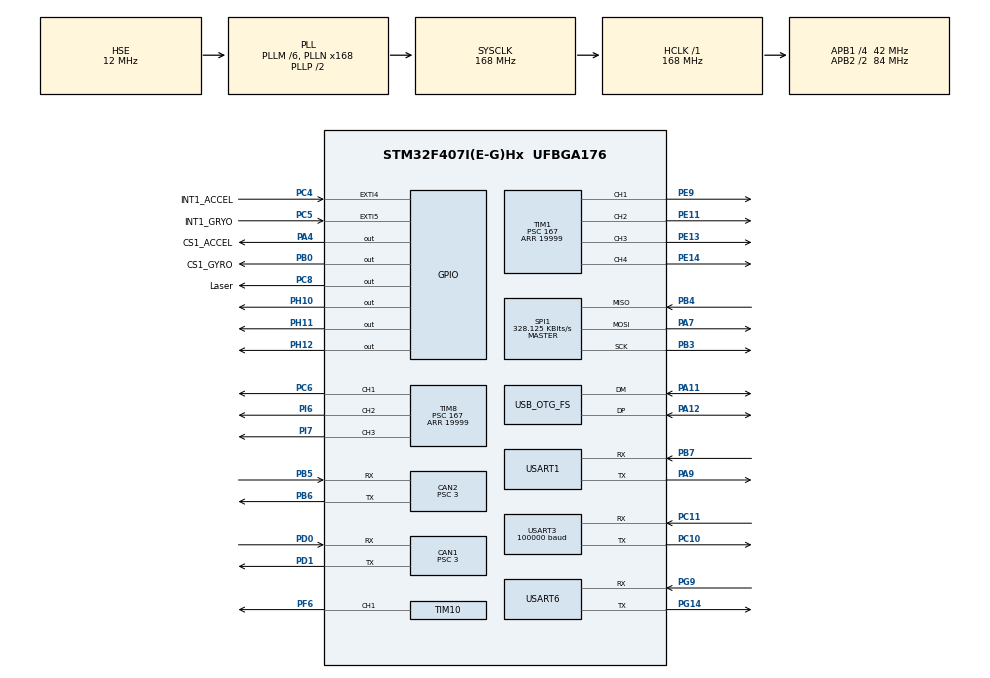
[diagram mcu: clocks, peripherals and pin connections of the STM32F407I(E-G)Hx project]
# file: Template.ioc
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CAN1.BS1=CAN_BS1_10TQ
CAN1.BS2=CAN_BS2_3TQ
CAN1.CalculateBaudRate=1000000
CAN1.CalculateTimeBit=1000
CAN1.CalculateTimeQuantum=71.42857142857143
CAN1.Prescaler=3
CAN2.BS1=CAN_BS1_10TQ
CAN2.BS2=CAN_BS2_3TQ
CAN2.CalculateBaudRate=1000000
CAN2.CalculateTimeBit=1000
CAN2.CalculateTimeQuantum=71.42857142857143
CAN2.Prescaler=3
Dma.Request0=SPI1_RX
Dma.Request1=SPI1_TX
Dma.Request2=USART6_RX
Dma.Request3=USART6_TX
Dma.Request4=USART3_RX
Dma.Request5=USART1_TX
Dma.Request6=USART1_RX
Dma.SPI1_RX.0.Direction=DMA_PERIPH_TO_MEMORY
Dma.SPI1_RX.0.FIFOMode=DMA_FIFOMODE_DISABLE
Dma.SPI1_RX.0.Instance=DMA2_Stream0
Dma.SPI1_RX.0.MemDataAlignment=DMA_MDATAALIGN_BYTE
Dma.SPI1_RX.0.MemInc=DMA_MINC_ENABLE
Dma.SPI1_RX.0.Mode=DMA_NORMAL
Dma.SPI1_RX.0.PeriphDataAlignment=DMA_PDATAALIGN_BYTE
Dma.SPI1_RX.0.PeriphInc=DMA_PINC_DISABLE
Dma.SPI1_RX.0.Priority=DMA_PRIORITY_VERY_HIGH
Dma.SPI1_TX.1.Direction=DMA_MEMORY_TO_PERIPH
Dma.SPI1_TX.1.FIFOMode=DMA_FIFOMODE_DISABLE
Dma.SPI1_TX.1.Instance=DMA2_Stream3
Dma.SPI1_TX.1.MemDataAlignment=DMA_MDATAALIGN_BYTE
Dma.SPI1_TX.1.MemInc=DMA_MINC_ENABLE
Dma.SPI1_TX.1.Mode=DMA_NORMAL
Dma.SPI1_TX.1.PeriphDataAlignment=DMA_PDATAALIGN_BYTE
Dma.SPI1_TX.1.PeriphInc=DMA_PINC_DISABLE
Dma.SPI1_TX.1.Priority=DMA_PRIORITY_HIGH
Dma.USART1_RX.6.Direction=DMA_PERIPH_TO_MEMORY
Dma.USART1_RX.6.FIFOMode=DMA_FIFOMODE_DISABLE
Dma.USART1_RX.6.Instance=DMA2_Stream2
Dma.USART1_RX.6.MemDataAlignment=DMA_MDATAALIGN_BYTE
Dma.USART1_RX.6.MemInc=DMA_MINC_ENABLE
Dma.USART1_RX.6.Mode=DMA_NORMAL
Dma.USART1_RX.6.PeriphDataAlignment=DMA_PDATAALIGN_BYTE
Dma.USART1_RX.6.PeriphInc=DMA_PINC_DISABLE
Dma.USART1_RX.6.Priority=DMA_PRIORITY_HIGH
Dma.USART1_TX.5.Direction=DMA_MEMORY_TO_PERIPH
Dma.USART1_TX.5.FIFOMode=DMA_FIFOMODE_DISABLE
Dma.USART1_TX.5.Instance=DMA2_Stream7
Dma.USART1_TX.5.MemDataAlignment=DMA_MDATAALIGN_BYTE
Dma.USART1_TX.5.MemInc=DMA_MINC_ENABLE
Dma.USART1_TX.5.Mode=DMA_NORMAL
Dma.USART1_TX.5.PeriphDataAlignment=DMA_PDATAALIGN_BYTE
Dma.USART1_TX.5.PeriphInc=DMA_PINC_DISABLE
Dma.USART1_TX.5.Priority=DMA_PRIORITY_HIGH
Dma.USART3_RX.4.Direction=DMA_PERIPH_TO_MEMORY
Dma.USART3_RX.4.FIFOMode=DMA_FIFOMODE_DISABLE
Dma.USART3_RX.4.Instance=DMA1_Stream1
Dma.USART3_RX.4.MemDataAlignment=DMA_MDATAALIGN_BYTE
Dma.USART3_RX.4.MemInc=DMA_MINC_ENABLE
Dma.USART3_RX.4.Mode=DMA_NORMAL
Dma.USART3_RX.4.PeriphDataAlignment=DMA_PDATAALIGN_BYTE
Dma.USART3_RX.4.PeriphInc=DMA_PINC_DISABLE
Dma.USART3_RX.4.Priority=DMA_PRIORITY_HIGH
Dma.USART6_RX.2.Direction=DMA_PERIPH_TO_MEMORY
Dma.USART6_RX.2.FIFOMode=DMA_FIFOMODE_DISABLE
Dma.USART6_RX.2.Instance=DMA2_Stream1
Dma.USART6_RX.2.MemDataAlignment=DMA_MDATAALIGN_BYTE
Dma.USART6_RX.2.MemInc=DMA_MINC_ENABLE
Dma.USART6_RX.2.Mode=DMA_NORMAL
Dma.USART6_RX.2.PeriphDataAlignment=DMA_PDATAALIGN_BYTE
Dma.USART6_RX.2.PeriphInc=DMA_PINC_DISABLE
Dma.USART6_RX.2.Priority=DMA_PRIORITY_HIGH
Dma.USART6_TX.3.Direction=DMA_MEMORY_TO_PERIPH
Dma.USART6_TX.3.FIFOMode=DMA_FIFOMODE_DISABLE
Dma.USART6_TX.3.Instance=DMA2_Stream6
Dma.USART6_TX.3.MemDataAlignment=DMA_MDATAALIGN_BYTE
Dma.USART6_TX.3.MemInc=DMA_MINC_ENABLE
Dma.USART6_TX.3.Mode=DMA_NORMAL
Dma.USART6_TX.3.PeriphDataAlignment=DMA_PDATAALIGN_BYTE
Dma.USART6_TX.3.PeriphInc=DMA_PINC_DISABLE
Dma.USART6_TX.3.Priority=DMA_PRIORITY_HIGH
FREERTOS.Tasks01=defaultTask,0,128,StartDefaultTask,Default,NULL,Dynamic,NULL,NULL
Mcu.Family=STM32F4
Mcu.Name=STM32F407I(E-G)Hx
Mcu.Package=UFBGA176
NVIC.CAN1_RX0_IRQn=true\:5\:0\:false\:false\:true\:true\:true\:true
NVIC.CAN2_RX0_IRQn=true\:5\:0\:false\:false\:true\:true\:true\:true
NVIC.DMA1_Stream1_IRQn=true\:5\:0\:false\:false\:true\:true\:false\:true
NVIC.DMA2_Stream0_IRQn=true\:5\:0\:false\:false\:false\:true\:false\:true
NVIC.DMA2_Stream1_IRQn=true\:5\:0\:false\:false\:true\:true\:false\:true
NVIC.DMA2_Stream2_IRQn=true\:5\:0\:false\:false\:true\:true\:false\:true
NVIC.DMA2_Stream3_IRQn=true\:5\:0\:false\:false\:true\:true\:false\:true
NVIC.DMA2_Stream6_IRQn=true\:5\:0\:false\:false\:true\:true\:false\:true
NVIC.DMA2_Stream7_IRQn=true\:5\:0\:false\:false\:true\:true\:false\:true
NVIC.EXTI4_IRQn=true\:5\:0\:false\:false\:true\:true\:true\:true
NVIC.EXTI9_5_IRQn=true\:5\:0\:false\:false\:true\:true\:true\:true
NVIC.OTG_FS_IRQn=true\:5\:0\:false\:false\:true\:true\:false\:true
NVIC.PriorityGroup=NVIC_PRIORITYGROUP_4
NVIC.TIM3_IRQn=true\:5\:0\:false\:false\:false\:true\:true\:true
NVIC.TIM4_IRQn=true\:5\:0\:false\:false\:false\:true\:true\:true
NVIC.TIM5_IRQn=true\:5\:0\:false\:false\:false\:true\:true\:true
NVIC.TIM6_DAC_IRQn=true\:5\:0\:false\:false\:false\:true\:true\:true
NVIC.TIM7_IRQn=true\:15\:0\:false\:false\:true\:false\:false\:true
NVIC.TimeBase=TIM7_IRQn
NVIC.TimeBaseIP=TIM7
NVIC.USART1_IRQn=true\:5\:0\:false\:false\:false\:true\:true\:true
NVIC.USART3_IRQn=true\:5\:0\:false\:false\:false\:true\:true\:true
NVIC.USART6_IRQn=true\:5\:0\:false\:false\:false\:true\:true\:true
PA11.Mode=Device_Only
PA11.Signal=USB_OTG_FS_DM
PA12.Mode=Device_Only
PA12.Signal=USB_OTG_FS_DP
PA13.Mode=Serial_Wire
PA13.Signal=SYS_JTMS-SWDIO
PA14.Mode=Serial_Wire
PA14.Signal=SYS_JTCK-SWCLK
PA4.GPIO_Label=CS1_ACCEL
PA4.Signal=GPIO_Output
PA7.Mode=Full_Duplex_Master
PA7.Signal=SPI1_MOSI
PA9.Mode=Asynchronous
PA9.Signal=USART1_TX
PB0.GPIO_Label=CS1_GYRO
PB0.Signal=GPIO_Output
PB3.Mode=Full_Duplex_Master
PB3.Signal=SPI1_SCK
PB4.Mode=Full_Duplex_Master
PB4.Signal=SPI1_MISO
PB5.Mode=CAN_Activate
PB5.Signal=CAN2_RX
PB6.Mode=CAN_Activate
PB6.Signal=CAN2_TX
PB7.Mode=Asynchronous
PB7.Signal=USART1_RX
PC10.Mode=Asynchronous
PC10.Signal=USART3_TX
PC11.Mode=Asynchronous
PC11.Signal=USART3_RX
PC4.GPIO_Label=INT1_ACCEL
PC4.Signal=GPXTI4
PC5.GPIO_Label=INT1_GRYO
PC5.Signal=GPXTI5
PC6.Signal=S_TIM8_CH1
PC8.GPIO_Label=Laser
PC8.Signal=GPIO_Output
PD0.Mode=CAN_Activate
PD0.Signal=CAN1_RX
PD1.Mode=CAN_Activate
PD1.Signal=CAN1_TX
PE11.Signal=S_TIM1_CH2
PE13.Signal=S_TIM1_CH3
PE14.Signal=S_TIM1_CH4
PE9.Signal=S_TIM1_CH1
PF6.Signal=S_TIM10_CH1
PG14.Mode=Asynchronous
PG14.Signal=USART6_TX
PG9.Mode=Asynchronous
PG9.Signal=USART6_RX
PH0-OSC_IN.Mode=HSE-External-Oscillator
PH0-OSC_IN.Signal=RCC_OSC_IN
PH1-OSC_OUT.Mode=HSE-External-Oscillator
PH1-OSC_OUT.Signal=RCC_OSC_OUT
PH10.Signal=GPIO_Output
PH11.Signal=GPIO_Output
PH12.Signal=GPIO_Output
PI6.Signal=S_TIM8_CH2
PI7.Signal=S_TIM8_CH3
ProjectManager.HeapSize=0x5000
ProjectManager.StackSize=0x5000
ProjectManager.TargetToolchain=MDK-ARM V5.32
RCC.48MHZClocksFreq_Value=48000000
RCC.AHBFreq_Value=168000000
RCC.APB1CLKDivider=RCC_HCLK_DIV4
RCC.APB1Freq_Value=42000000
RCC.APB1TimFreq_Value=84000000
RCC.APB2CLKDivider=RCC_HCLK_DIV2
RCC.APB2Freq_Value=84000000
RCC.APB2TimFreq_Value=168000000
RCC.CortexFreq_Value=168000000
RCC.HCLKFreq_Value=168000000
RCC.HSE_VALUE=12000000
RCC.HSI_VALUE=16000000
RCC.LSE_VALUE=32768
RCC.PLLM=6
RCC.PLLN=168
RCC.PLLQ=7
RCC.SYSCLKFreq_VALUE=168000000
RCC.SYSCLKSource=RCC_SYSCLKSOURCE_PLLCLK
RCC.VCOOutputFreq_Value=336000000
SH.S_TIM10_CH1.0=TIM10_CH1,PWM Generation1 CH1
SH.S_TIM1_CH1.0=TIM1_CH1,PWM Generation1 CH1
SH.S_TIM1_CH2.0=TIM1_CH2,PWM Generation2 CH2
SH.S_TIM1_CH3.0=TIM1_CH3,PWM Generation3 CH3
SH.S_TIM1_CH4.0=TIM1_CH4,PWM Generation4 CH4
SH.S_TIM8_CH1.0=TIM8_CH1,PWM Generation1 CH1
SH.S_TIM8_CH2.0=TIM8_CH2,PWM Generation2 CH2
SH.S_TIM8_CH3.0=TIM8_CH3,PWM Generation3 CH3
SPI1.BaudRatePrescaler=SPI_BAUDRATEPRESCALER_256
SPI1.CLKPhase=SPI_PHASE_2EDGE
SPI1.CLKPolarity=SPI_POLARITY_HIGH
SPI1.CalculateBaudRate=328.125 KBits/s
SPI1.Direction=SPI_DIRECTION_2LINES
SPI1.Mode=SPI_MODE_MASTER
SPI1.VirtualType=VM_MASTER
TIM1.Channel-PWM\ Generation1\ CH1=TIM_CHANNEL_1
TIM1.Channel-PWM\ Generation2\ CH2=TIM_CHANNEL_2
TIM1.Channel-PWM\ Generation3\ CH3=TIM_CHANNEL_3
TIM1.Channel-PWM\ Generation4\ CH4=TIM_CHANNEL_4
TIM1.Period=19999
TIM1.Prescaler=167
TIM1.Pulse-PWM\ Generation1\ CH1=1000
TIM1.Pulse-PWM\ Generation2\ CH2=1000
TIM1.Pulse-PWM\ Generation3\ CH3=1000
TIM1.Pulse-PWM\ Generation4\ CH4=1000
TIM10.Channel=TIM_CHANNEL_1
TIM10.Period=4999
TIM3.Period=999
TIM3.Prescaler=83
TIM4.Period=1999
TIM4.Prescaler=83
TIM5.Period=999
TIM5.Prescaler=83
TIM6.Period=9999
TIM6.Prescaler=83
TIM8.Channel-PWM\ Generation1\ CH1=TIM_CHANNEL_1
TIM8.Channel-PWM\ Generation2\ CH2=TIM_CHANNEL_2
TIM8.Channel-PWM\ Generation3\ CH3=TIM_CHANNEL_3
TIM8.Period=19999
TIM8.Prescaler=167
TIM8.Pulse-PWM\ Generation1\ CH1=1000
TIM8.Pulse-PWM\ Generation2\ CH2=1000
TIM8.Pulse-PWM\ Generation3\ CH3=1000
USART1.VirtualMode=VM_ASYNC
USART3.BaudRate=100000
USART3.Parity=PARITY_EVEN
USART3.VirtualMode=VM_ASYNC
USART6.VirtualMode=VM_ASYNC
USB_DEVICE.CLASS_NAME_FS=CDC
USB_DEVICE.VirtualMode-CDC_FS=Cdc
USB_DEVICE.VirtualModeFS=Cdc_FS
USB_OTG_FS.VirtualMode=Device_Only
VP_FREERTOS_VS_CMSIS_V1.Mode=CMSIS_V1
VP_SYS_VS_tim7.Mode=TIM7
VP_TIM10_VS_ClockSourceINT.Mode=Enable_Timer
VP_TIM1_VS_ClockSourceINT.Mode=Internal
VP_TIM3_VS_ClockSourceINT.Mode=Internal
VP_TIM4_VS_ClockSourceINT.Mode=Internal
VP_TIM5_VS_ClockSourceINT.Mode=Internal
VP_TIM6_VS_ClockSourceINT.Mode=Enable_Timer
VP_TIM8_VS_ClockSourceINT.Mode=Internal
VP_USB_DEVICE_VS_USB_DEVICE_CDC_FS.Mode=CDC_FS
board=custom

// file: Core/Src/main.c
/* USER CODE BEGIN Header */
/**
  ******************************************************************************
  * @file           : main.c
  * @brief          : Main program body
  ******************************************************************************
  * @attention
  *
  * Copyright (c) 2021 STMicroelectronics.
  * All rights reserved.
  *
  * This software is licensed under terms that can be found in the LICENSE file
  * in the root directory of this software component.
  * If no LICENSE file comes with this software, it is provided AS-IS.
  *
  ******************************************************************************
  */
/* USER CODE END Header */
#include "main.h"
#include "cmsis_os.h"
#include "can.h"
#include "dma.h"
#include "spi.h"
#include "tim.h"
#include "usart.h"
#include "usb_device.h"
#include "gpio.h"

/* USER CODE BEGIN Includes */
#include "bsp_delay.h"
#include "bsp_can.h"
#include "Remote.h"
/* USER CODE END Includes */

void SystemClock_Config(void);
void MX_FREERTOS_Init(void);

int main(void)
{

  /* MCU Configuration--------------------------------------------------------*/

  /* Reset of all peripherals, Initializes the Flash interface and the Systick. */
  HAL_Init();

  /* Configure the system clock */
  SystemClock_Config();

  /* Initialize all configured peripherals */
  MX_GPIO_Init();
  MX_DMA_Init();
  MX_CAN1_Init();
  MX_SPI1_Init();
  MX_TIM5_Init();
  MX_TIM10_Init();
  MX_CAN2_Init();
  MX_USART1_UART_Init();
  MX_USART3_UART_Init();
  MX_USART6_UART_Init();
  MX_TIM3_Init();
  MX_TIM4_Init();
  MX_TIM1_Init();
  MX_TIM8_Init();
  MX_TIM6_Init();
  /* USER CODE BEGIN 2 */
  delay_init();
  remote_control_init();
  can_filter_init();

  HAL_TIM_Base_Start_IT(&htim3);
  HAL_Delay(1);
  HAL_TIM_Base_Start_IT(&htim4);
  HAL_Delay(1);
  HAL_TIM_Base_Start_IT(&htim6);

  HAL_TIM_PWM_Start(&htim10, TIM_CHANNEL_1);

//  HAL_TIM_PWM_Start(&htim1, TIM_CHANNEL_1);
//  HAL_TIM_PWM_Start(&htim1, TIM_CHANNEL_2);
//  HAL_TIM_PWM_Start(&htim1, TIM_CHANNEL_3);
//  HAL_TIM_PWM_Start(&htim1, TIM_CHANNEL_4);
//  HAL_TIM_PWM_Start(&htim8, TIM_CHANNEL_1);
//  HAL_TIM_PWM_Start(&htim8, TIM_CHANNEL_2);
//  HAL_TIM_PWM_Start(&htim8, TIM_CHANNEL_3);
//  __HAL_TIM_SetCompare(&htim1, TIM_CHANNEL_1, 1000);
//  __HAL_TIM_SetCompare(&htim1, TIM_CHANNEL_2, 1000);
//  __HAL_TIM_SetCompare(&htim1, TIM_CHANNEL_3, 1150);
//  __HAL_TIM_SetCompare(&htim1, TIM_CHANNEL_4, 1000);
//  __HAL_TIM_SetCompare(&htim8, TIM_CHANNEL_1, 2000);
//  __HAL_TIM_SetCompare(&htim8, TIM_CHANNEL_2, 2000);
//  __HAL_TIM_SetCompare(&htim8, TIM_CHANNEL_3, 2000);
//  __HAL_TIM_SetCompare(&htim1, TIM_CHANNEL_1, 1800);
//  __HAL_TIM_SetCompare(&htim1, TIM_CHANNEL_2, 1800);
//  __HAL_TIM_SetCompare(&htim1, TIM_CHANNEL_3, 1800);
//  __HAL_TIM_SetCompare(&htim1, TIM_CHANNEL_4, 1800);
//  __HAL_TIM_SetCompare(&htim8, TIM_CHANNEL_1, 1800);
//  __HAL_TIM_SetCompare(&htim8, TIM_CHANNEL_2, 1800);
//  __HAL_TIM_SetCompare(&htim8, TIM_CHANNEL_3, 1800);
//  HAL_Delay(3000);
//  __HAL_TIM_SetCompare(&htim1, TIM_CHANNEL_1, 400);
//  __HAL_TIM_SetCompare(&htim1, TIM_CHANNEL_2, 400);
//  __HAL_TIM_SetCompare(&htim1, TIM_CHANNEL_3, 400);
//  __HAL_TIM_SetCompare(&htim1, TIM_CHANNEL_4, 400);
//  __HAL_TIM_SetCompare(&htim8, TIM_CHANNEL_1, 400);
//  __HAL_TIM_SetCompare(&htim8, TIM_CHANNEL_2, 400);
//  __HAL_TIM_SetCompare(&htim8, TIM_CHANNEL_3, 400);
//  HAL_Delay(3000);
//  __HAL_TIM_SetCompare(&htim1, TIM_CHANNEL_1, 1150);
//  __HAL_TIM_SetCompare(&htim1, TIM_CHANNEL_2, 1150);
//  __HAL_TIM_SetCompare(&htim1, TIM_CHANNEL_3, 1150);
//  __HAL_TIM_SetCompare(&htim1, TIM_CHANNEL_4, 1150);
//  __HAL_TIM_SetCompare(&htim8, TIM_CHANNEL_1, 1150);
//  __HAL_TIM_SetCompare(&htim8, TIM_CHANNEL_2, 1150);
//  __HAL_TIM_SetCompare(&htim8, TIM_CHANNEL_3, 1150);

  HAL_GPIO_WritePin(LED_R_GPIO_Port, LED_R_Pin, GPIO_PIN_RESET);
  HAL_GPIO_WritePin(LED_G_GPIO_Port, LED_G_Pin, GPIO_PIN_RESET);
  HAL_GPIO_WritePin(LED_B_GPIO_Port, LED_B_Pin, GPIO_PIN_RESET);
  HAL_GPIO_WritePin(Laser_GPIO_Port, Laser_Pin, GPIO_PIN_SET);
  /* USER CODE END 2 */

  /* Call init function for freertos objects (in freertos.c) */
  MX_FREERTOS_Init();
  /* Start scheduler */
  osKernelStart();

  /* We should never get here as control is now taken by the scheduler */
  /* Infinite loop */
  while (1)
  {

  }
}

void SystemClock_Config(void)
{
  RCC_OscInitTypeDef RCC_OscInitStruct = {0};
  RCC_ClkInitTypeDef RCC_ClkInitStruct = {0};

  /** Configure the main internal regulator output voltage
  */
  __HAL_RCC_PWR_CLK_ENABLE();
  __HAL_PWR_VOLTAGESCALING_CONFIG(PWR_REGULATOR_VOLTAGE_SCALE1);
  /** Initializes the RCC Oscillators according to the specified parameters
  * in the RCC_OscInitTypeDef structure.
  */
  RCC_OscInitStruct.OscillatorType = RCC_OSCILLATORTYPE_HSE;
  RCC_OscInitStruct.HSEState = RCC_HSE_ON;
  RCC_OscInitStruct.PLL.PLLState = RCC_PLL_ON;
  RCC_OscInitStruct.PLL.PLLSource = RCC_PLLSOURCE_HSE;
  RCC_OscInitStruct.PLL.PLLM = 6;
  RCC_OscInitStruct.PLL.PLLN = 168;
  RCC_OscInitStruct.PLL.PLLP = RCC_PLLP_DIV2;
  RCC_OscInitStruct.PLL.PLLQ = 7;
  if (HAL_RCC_OscConfig(&RCC_OscInitStruct) != HAL_OK)
  {
    Error_Handler();
  }
  /** Initializes the CPU, AHB and APB buses clocks
  */
  RCC_ClkInitStruct.ClockType = RCC_CLOCKTYPE_HCLK|RCC_CLOCKTYPE_SYSCLK
                              |RCC_CLOCKTYPE_PCLK1|RCC_CLOCKTYPE_PCLK2;
  RCC_ClkInitStruct.SYSCLKSource = RCC_SYSCLKSOURCE_PLLCLK;
  RCC_ClkInitStruct.AHBCLKDivider = RCC_SYSCLK_DIV1;
  RCC_ClkInitStruct.APB1CLKDivider = RCC_HCLK_DIV4;
  RCC_ClkInitStruct.APB2CLKDivider = RCC_HCLK_DIV2;

  if (HAL_RCC_ClockConfig(&RCC_ClkInitStruct, FLASH_LATENCY_5) != HAL_OK)
  {
    Error_Handler();
  }
}

void HAL_TIM_PeriodElapsedCallback(TIM_HandleTypeDef *htim)
{
  if (htim->Instance == TIM7) {
    HAL_IncTick();
  }
}

void Error_Handler(void)
{
  __disable_irq();
  while (1)
  {
  }
}

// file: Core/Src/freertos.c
/* USER CODE BEGIN Header */
/**
  ******************************************************************************
  * File Name          : freertos.c
  * Description        : Code for freertos applications
  ******************************************************************************
  * @attention
  *
  * Copyright (c) 2021 STMicroelectronics.
  * All rights reserved.
  *
  * This software is licensed under terms that can be found in the LICENSE file
  * in the root directory of this software component.
  * If no LICENSE file comes with this software, it is provided AS-IS.
  *
  ******************************************************************************
  */
/* USER CODE END Header */

#include "FreeRTOS.h"
#include "task.h"
#include "main.h"
#include "cmsis_os.h"

/* USER CODE BEGIN Includes */
#include "AttitudeThread.h"
#include "CalculateThread.h"
#include "DebugThread.h"
/* USER CODE END Includes */

/* USER CODE BEGIN PTD */

osThreadId CalcThreadHandler;
osThreadId AttudThreadHandler;
osThreadId DebugThreadHandle;

/* USER CODE END PTD */

osThreadId defaultTaskHandle;

void StartDefaultTask(void const * argument);

extern void MX_USB_DEVICE_Init(void);
void MX_FREERTOS_Init(void); /* (MISRA C 2004 rule 8.1) */

/* GetIdleTaskMemory prototype (linked to static allocation support) */
void vApplicationGetIdleTaskMemory( StaticTask_t **ppxIdleTaskTCBBuffer, StackType_t **ppxIdleTaskStackBuffer, uint32_t *pulIdleTaskStackSize );

/* USER CODE BEGIN GET_IDLE_TASK_MEMORY */
static StaticTask_t xIdleTaskTCBBuffer;
static StackType_t xIdleStack[configMINIMAL_STACK_SIZE];

void vApplicationGetIdleTaskMemory( StaticTask_t **ppxIdleTaskTCBBuffer, StackType_t **ppxIdleTaskStackBuffer, uint32_t *pulIdleTaskStackSize )
{
  *ppxIdleTaskTCBBuffer = &xIdleTaskTCBBuffer;
  *ppxIdleTaskStackBuffer = &xIdleStack[0];
  *pulIdleTaskStackSize = configMINIMAL_STACK_SIZE;
  /* place for user code */
}
/* USER CODE END GET_IDLE_TASK_MEMORY */

void MX_FREERTOS_Init(void) {

  /* Create the thread(s) */
  /* definition and creation of defaultTask */
  osThreadDef(defaultTask, StartDefaultTask, osPriorityNormal, 0, 128);
  defaultTaskHandle = osThreadCreate(osThread(defaultTask), NULL);

  /* USER CODE BEGIN RTOS_THREADS */
  /* add threads, ... */

  /* definition and creation of Attitude */
  osThreadDef(Attitude, AttitudeThread, osPriorityRealtime, 0, 1024);
  AttudThreadHandler = osThreadCreate(osThread(Attitude), NULL);

  /* definition and creation of Calculate */
  osThreadDef(Calculate, CalculateThread, osPriorityHigh, 0, 1024);
  CalcThreadHandler = osThreadCreate(osThread(Calculate), NULL);

  /* definition and creation of Debug */
  osThreadDef(Debug, DebugThread, osPriorityNormal, 0, 512);
  DebugThreadHandle = osThreadCreate(osThread(Debug), NULL);

  /* USER CODE END RTOS_THREADS */

}

void StartDefaultTask(void const * argument)
{
  /* init code for USB_DEVICE */
  MX_USB_DEVICE_Init();
  for(;;)
  {
    osDelay(1);
  }
}
